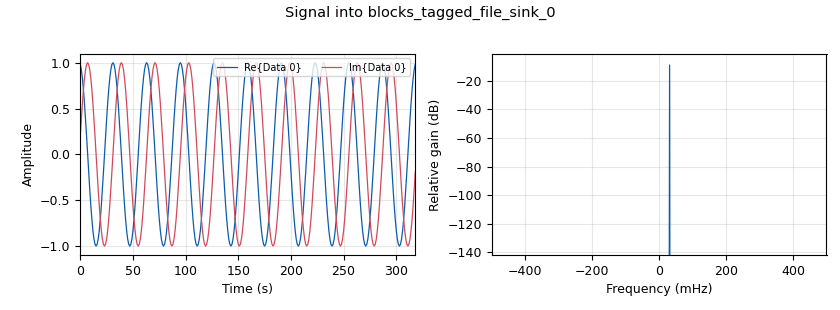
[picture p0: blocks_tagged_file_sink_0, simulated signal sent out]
<?xml version='1.0' encoding='utf-8'?>
<?grc format='1' created='3.7.7'?>
<flow_graph>
<block>
<key>options</key>
<param><key>id</key><value>blocks_burst_tagger</value></param>
<param><key>generate_options</key><value>qt_gui</value></param>
<param><key>category</key><value>Custom</value></param>
<param><key>run_options</key><value>run</value></param>
</block>
<block>
<key>variable</key>
<param><key>id</key><value>samp_rate</value></param>
<param><key>value</key><value>32000</value></param>
</block>
<block>
<key>variable_qtgui_range</key>
<param><key>id</key><value>amp</value></param>
<param><key>label</key><value>Noise</value></param>
<param><key>value</key><value>1</value></param>
<param><key>start</key><value>0</value></param>
<param><key>stop</key><value>2</value></param>
<param><key>step</key><value>0.01</value></param>
<param><key>orient</key><value>Qt.Horizontal</value></param>
</block>
<block>
<key>blocks_vector_source_x</key>
<param><key>id</key><value>blocks_vector_source_x_0</value></param>
<param><key>type</key><value>short</value></param>
<param><key>vector</key><value>10000*[0,] + 10000*[1,]</value></param>
<param><key>repeat</key><value>True</value></param>
</block>
<block>
<key>analog_sig_source_x</key>
<param><key>id</key><value>analog_sig_source_x_0</value></param>
<param><key>type</key><value>complex</value></param>
<param><key>samp_rate</key><value>samp_rate</value></param>
<param><key>waveform</key><value>analog.GR_COS_WAVE</value></param>
<param><key>freq</key><value>1000</value></param>
<param><key>amp</key><value>1</value></param>
<param><key>offset</key><value>0</value></param>
</block>
<block>
<key>blocks_burst_tagger</key>
<param><key>id</key><value>blocks_burst_tagger_0</value></param>
<param><key>type</key><value>complex</value></param>
<param><key>true_key</key><value>burst</value></param>
<param><key>true_value</key><value>True</value></param>
<param><key>false_key</key><value>burst</value></param>
<param><key>false_value</key><value>False</value></param>
</block>
<block>
<key>blocks_throttle</key>
<param><key>id</key><value>blocks_throttle_0</value></param>
<param><key>type</key><value>complex</value></param>
<param><key>samples_per_second</key><value>samp_rate</value></param>
</block>
<block>
<key>blocks_tag_debug</key>
<param><key>id</key><value>blocks_tag_debug_0</value></param>
<param><key>type</key><value>complex</value></param>
</block>
<block>
<key>blocks_tagged_file_sink</key>
<param><key>id</key><value>blocks_tagged_file_sink_0</value></param>
<param><key>type</key><value>complex</value></param>
<param><key>samp_rate</key><value>1</value></param>
</block>
<connection><source_block_id>blocks_throttle_0</source_block_id><sink_block_id>blocks_tag_debug_0</sink_block_id><source_key>0</source_key><sink_key>0</sink_key></connection>
<connection><source_block_id>blocks_burst_tagger_0</source_block_id><sink_block_id>blocks_throttle_0</sink_block_id><source_key>0</source_key><sink_key>0</sink_key></connection>
<connection><source_block_id>analog_sig_source_x_0</source_block_id><sink_block_id>blocks_burst_tagger_0</sink_block_id><source_key>0</source_key><sink_key>0</sink_key></connection>
<connection><source_block_id>blocks_throttle_0</source_block_id><sink_block_id>blocks_tagged_file_sink_0</sink_block_id><source_key>0</source_key><sink_key>0</sink_key></connection>
<connection><source_block_id>blocks_vector_source_x_0</source_block_id><sink_block_id>blocks_burst_tagger_0</sink_block_id><source_key>0</source_key><sink_key>1</sink_key></connection>
</flow_graph>
